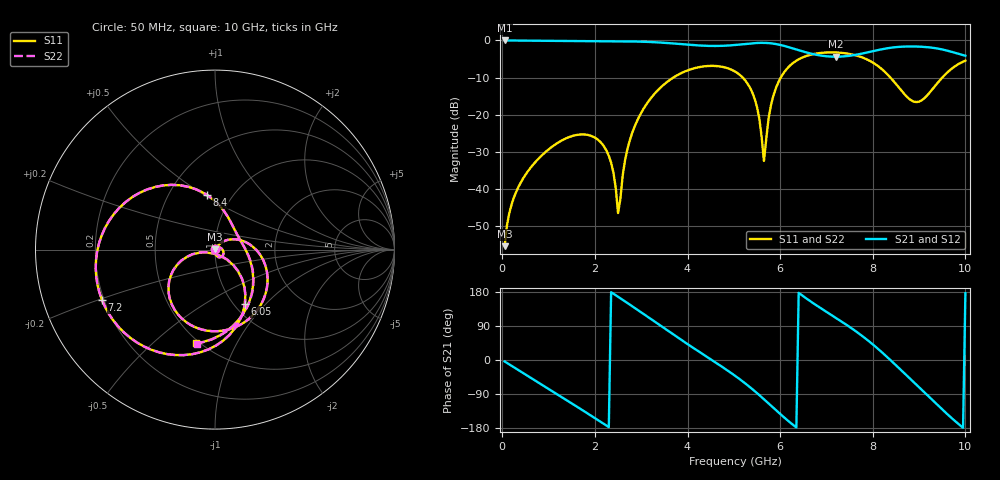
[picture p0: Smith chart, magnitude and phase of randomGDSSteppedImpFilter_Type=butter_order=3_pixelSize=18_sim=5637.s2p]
! freq	dB(S11)	phase(S11)	dB(S12)	phase(S12)
!  dB(S21)	phase(S21)	dB(S22)	phase(S22)
!S-par simulation data
#  GHz  S  DB  R 50
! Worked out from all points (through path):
!   200 points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, 50 MHz to 10 GHz, reference 50 ohm
!   highest |S21| = -0.01 dB at 50 MHz (marker M1); lowest = -4.4 dB at 7.2 GHz (marker M2)
!   group delay of S21, straight-line fit = 249 ps
!   lowest |S11| = -55.3 dB at 50 MHz (marker M3), VSWR 1.00, Z = 50.1 + j0.142 ohm
!   |S11| at or under -10 dB: start of sweep to 3.691 GHz; 5.192 GHz to 6.014 GHz (821.5 MHz wide, 14.7 % of centre); 8.382 GHz to 9.5 GHz (1.118 GHz wide, 12.5 % of centre)
!   |S22| runs from -54.8 to -3.2 dB; largest |S21 - S12| = 0
!   S11 on the Smith chart (normalised r, x): 50 MHz: 1.00, +0.00; 6.05 GHz: 1.12, -0.77; 7.2 GHz: 0.19, -0.21; 8.4 GHz: 0.77, +0.51; 10 GHz: 0.48, -0.70
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0.05  -55.31 55.7  -0.01 -3.9  -0.01 -3.9  -54.80 55.3
0.2  -44.13 64.7  -0.03 -15.3  -0.03 -15.3  -44.13 64.7
0.55  -35.23 45.8  -0.06 -41.8  -0.06 -41.8  -35.23 45.6
1.15  -27.91 3.1  -0.12 -87.6  -0.12 -87.6  -27.91 2.8
1.75  -25.27 -42.0  -0.18 -133.9  -0.18 -133.9  -25.27 -42.5
2.3  -31.02 -79.9  -0.22 -177.1  -0.22 -177.1  -31.04 -81.2
2.5  -46.40 -39.5  -0.24 166.8  -0.24 166.8  -47.47 -43.5
2.8  -25.04 46.6  -0.28 142.3  -0.28 142.3  -25.05 47.3
3.4  -12.87 0.2  -0.56 92.0  -0.56 92.0  -12.88 0.3
4.25  -7.18 -68.5  -1.36 21.8  -1.36 21.8  -7.18 -68.5
5.05  -8.55 -132.1  -1.20 -43.7  -1.20 -43.7  -8.55 -132.3
5.45  -15.70 -165.2  -0.73 -82.1  -0.73 -82.1  -15.71 -165.7
5.65  -32.39 -109.5  -0.66 -103.5  -0.66 -103.5  -32.88 -109.9
5.8  -17.50 -40.4  -0.78 -120.2  -0.78 -120.2  -17.51 -39.8
6.05  -9.23 -61.3  -1.35 -147.8  -1.35 -147.8  -9.23 -61.1
6.7  -3.72 -118.6  -3.64 151.1  -3.64 151.1  -3.72 -118.5
7.2  -3.23 -156.0  -4.37 111.5  -4.37 111.5  -3.23 -156.0
7.85  -4.97 152.1  -3.32 56.0  -3.32 56.0  -4.97 152.0
8.35  -9.56 103.5  -2.04 3.4  -2.04 3.4  -9.56 103.4
8.4  -10.25 98.2  -1.95 -2.3  -1.95 -2.3  -10.24 98.2
9.15  -15.10 -3.8  -1.78 -89.7  -1.78 -89.7  -15.09 -3.2
10  -5.46 -101.5  -4.12 176.4  -4.12 176.4  -5.46 -101.1
